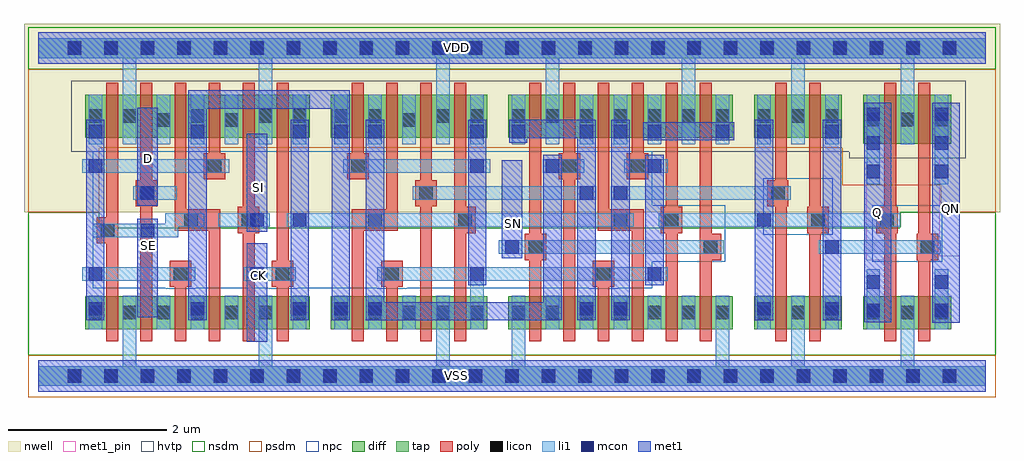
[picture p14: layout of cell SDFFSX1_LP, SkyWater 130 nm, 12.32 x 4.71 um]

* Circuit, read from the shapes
.subckt SDFFSX1_LP CK D Q QN SE SI SN VDD VSS
XM1 VSS SE n1 VSS sky130_fd_pr__nfet_01v8 w=0.42 l=0.15
XM2 n2 D VSS VSS sky130_fd_pr__nfet_01v8 w=0.42 l=0.15
XM3 n3 n1 n2 VSS sky130_fd_pr__nfet_01v8 w=0.42 l=0.15
XM4 n4 SE n3 VSS sky130_fd_pr__nfet_01v8 w=0.42 l=0.15
XM5 VSS SI n4 VSS sky130_fd_pr__nfet_01v8 w=0.42 l=0.15
XM6 n5 CK VSS VSS sky130_fd_pr__nfet_01v8 w=0.42 l=0.15
XM7 n6 n5 n3 VSS sky130_fd_pr__nfet_01v8 w=0.42 l=0.15
XM8 n7 n8 n6 VSS sky130_fd_pr__nfet_01v8 w=0.42 l=0.15
XM9 VSS n9 n7 VSS sky130_fd_pr__nfet_01v8 w=0.42 l=0.15
XM10 n8 n5 VSS VSS sky130_fd_pr__nfet_01v8 w=0.42 l=0.15
XM11 n10 SN VSS VSS sky130_fd_pr__nfet_01v8 w=0.42 l=0.15
XM12 n9 n6 n10 VSS sky130_fd_pr__nfet_01v8 w=0.42 l=0.15
XM13 n11 n8 n9 VSS sky130_fd_pr__nfet_01v8 w=0.42 l=0.15
XM14 n12 n5 n11 VSS sky130_fd_pr__nfet_01v8 w=0.42 l=0.15
XM15 n13 n14 n12 VSS sky130_fd_pr__nfet_01v8 w=0.42 l=0.15
XM16 VSS SN n13 VSS sky130_fd_pr__nfet_01v8 w=0.42 l=0.15
XM17 VSS n11 n14 VSS sky130_fd_pr__nfet_01v8 w=0.42 l=0.15
XM18 n15 n14 VSS VSS sky130_fd_pr__nfet_01v8 w=0.42 l=0.15
XM19 VSS n14 Q VSS sky130_fd_pr__nfet_01v8 w=0.42 l=0.15
XM20 QN n15 VSS VSS sky130_fd_pr__nfet_01v8 w=0.42 l=0.15
XM21 VDD SE n1 VDD sky130_fd_pr__pfet_01v8_hvt w=0.54 l=0.15
XM22 n16 D VDD VDD sky130_fd_pr__pfet_01v8_hvt w=0.54 l=0.15
XM23 n3 SE n16 VDD sky130_fd_pr__pfet_01v8_hvt w=0.54 l=0.15
XM24 n17 n1 n3 VDD sky130_fd_pr__pfet_01v8_hvt w=0.54 l=0.15
XM25 VDD SI n17 VDD sky130_fd_pr__pfet_01v8_hvt w=0.54 l=0.15
XM26 n5 CK VDD VDD sky130_fd_pr__pfet_01v8_hvt w=0.54 l=0.15
XM27 n6 n8 n3 VDD sky130_fd_pr__pfet_01v8_hvt w=0.54 l=0.15
XM28 n18 n5 n6 VDD sky130_fd_pr__pfet_01v8_hvt w=0.54 l=0.15
XM29 VDD n9 n18 VDD sky130_fd_pr__pfet_01v8_hvt w=0.54 l=0.15
XM30 n8 n5 VDD VDD sky130_fd_pr__pfet_01v8_hvt w=0.54 l=0.15
XM31 VDD SN n9 VDD sky130_fd_pr__pfet_01v8_hvt w=0.54 l=0.15
XM32 n9 n6 VDD VDD sky130_fd_pr__pfet_01v8_hvt w=0.54 l=0.15
XM33 n11 n5 n9 VDD sky130_fd_pr__pfet_01v8_hvt w=0.54 l=0.15
XM34 n19 n8 n11 VDD sky130_fd_pr__pfet_01v8_hvt w=0.54 l=0.15
XM35 VDD n14 n19 VDD sky130_fd_pr__pfet_01v8_hvt w=0.54 l=0.15
XM36 n19 SN VDD VDD sky130_fd_pr__pfet_01v8_hvt w=0.54 l=0.15
XM37 VDD n11 n14 VDD sky130_fd_pr__pfet_01v8_hvt w=0.54 l=0.15
XM38 n15 n14 VDD VDD sky130_fd_pr__pfet_01v8_hvt w=0.54 l=0.15
XM39 VDD n14 Q VDD sky130_fd_pr__pfet_01v8_hvt w=0.62 l=0.15
XM40 QN n15 VDD VDD sky130_fd_pr__pfet_01v8_hvt w=0.62 l=0.15
.ends

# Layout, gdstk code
from math import pi, radians
import gdstk
lib = gdstk.Library(unit=1e-6, precision=1e-09)
def R(c, l, rs):  # rectangles x0, y0, x1, y1
    for r in rs: c.add(gdstk.rectangle(r[:2], r[2:], *l))
def A(c, l, x, y, w, h, nx, ny, dx, dy):  # array of equal rectangles
    R(c, l, [(x+i*dx, y+j*dy, x+i*dx+w, y+j*dy+h) for i in range(nx) for j in range(ny)])
def P(c, l, *ps):  # polygons
    for p in ps: c.add(gdstk.Polygon(p, *l))
nwell = (64, 20)
diff = (65, 20)
tap = (65, 44)
poly = (66, 20)
licon = (66, 44)
li1 = (67, 20)
mcon = (67, 44)
met1_pin = (68, 16)
met1 = (68, 20)
hvtp = (78, 44)
nsdm = (93, 44)
psdm = (94, 20)
npc = (95, 20)

pyl1con_c_cdns_758729379 = lib.new_cell('PYL1CON_C_CDNS_758729379653')
R(pyl1con_c_cdns_758729379, poly, [(-0.135,-0.165,0.135,0.165)])
R(pyl1con_c_cdns_758729379, licon, [(-0.085,-0.085,0.085,0.085)])
R(pyl1con_c_cdns_758729379, npc, [(-0.185,-0.185,0.185,0.185)])

l1m1_c_cdns_758729379659 = lib.new_cell('L1M1_C_CDNS_758729379659')
R(l1m1_c_cdns_758729379659, li1, [(-0.085,-0.345,0.085,0.345)])
R(l1m1_c_cdns_758729379659, mcon, [(-0.085,-0.265,0.085,-0.095), (-0.085,0.095,0.085,0.265)])
R(l1m1_c_cdns_758729379659, met1, [(-0.115,-0.325,0.115,0.325)])

l1m1_c_cdns_758729379655 = lib.new_cell('L1M1_C_CDNS_758729379655')
R(l1m1_c_cdns_758729379655, li1, [(-0.085,-0.165,0.085,0.165)])
R(l1m1_c_cdns_758729379655, mcon, [(-0.085,-0.085,0.085,0.085)])
R(l1m1_c_cdns_758729379655, met1, [(-0.115,-0.145,0.115,0.145)])

l1m1_c_cdns_758729379654 = lib.new_cell('L1M1_C_CDNS_758729379654')
R(l1m1_c_cdns_758729379654, li1, [(-0.165,-0.085,0.165,0.085)])
R(l1m1_c_cdns_758729379654, mcon, [(-0.085,-0.085,0.085,0.085)])
R(l1m1_c_cdns_758729379654, met1, [(-0.115,-0.145,0.115,0.145)])

l1m1_c_cdns_758729379652 = lib.new_cell('L1M1_C_CDNS_7587293796521')
R(l1m1_c_cdns_758729379652, li1, [(-0.085,-0.165,0.085,0.165)])
R(l1m1_c_cdns_758729379652, mcon, [(-0.085,-0.085,0.085,0.085)])
R(l1m1_c_cdns_758729379652, met1, [(-0.145,-0.085,0.145,0.085)])

licondiff_c_cdns_7587293 = lib.new_cell('LICONDIFF_C_CDNS_758729379657')
R(licondiff_c_cdns_7587293, diff, [(-0.125,-0.145,0.125,0.145)])
R(licondiff_c_cdns_7587293, licon, [(-0.085,-0.085,0.085,0.085), (-0.085,-0.085,0.085,0.085)])

l1m1_c_cdns_758729379651 = lib.new_cell('L1M1_C_CDNS_7587293796510')
R(l1m1_c_cdns_758729379651, li1, [(-0.085,-0.525,0.085,0.525)])
A(l1m1_c_cdns_758729379651, mcon, -0.085, -0.445, 0.17, 0.17, 1, 3, 0, 0.36)
R(l1m1_c_cdns_758729379651, met1, [(-0.115,-0.505,0.115,0.505)])

c_pyl1con_c_cdns_758729379 = lib.new_cell('PYL1CON_C_CDNS_7587293796516')
R(c_pyl1con_c_cdns_758729379, poly, [(-0.135,-0.29,0.135,0.29)])
R(c_pyl1con_c_cdns_758729379, licon, [(-0.085,-0.085,0.085,0.085)])
R(c_pyl1con_c_cdns_758729379, npc, [(-0.185,-0.185,0.185,0.185)])

c_l1m1_c_cdns_758729379651 = lib.new_cell('L1M1_C_CDNS_7587293796519')
R(c_l1m1_c_cdns_758729379651, li1, [(-0.125,-0.085,0.125,0.085)])
R(c_l1m1_c_cdns_758729379651, mcon, [(-0.085,-0.085,0.085,0.085)])
R(c_l1m1_c_cdns_758729379651, met1, [(-0.115,-0.145,0.115,0.145)])

c_pyl1con_c_cdns_758729379_ = lib.new_cell('PYL1CON_C_CDNS_7587293796520')
R(c_pyl1con_c_cdns_758729379_, poly, [(-0.135,-0.37,0.135,0.21)])
R(c_pyl1con_c_cdns_758729379_, licon, [(-0.085,-0.085,0.085,0.085)])
R(c_pyl1con_c_cdns_758729379_, npc, [(-0.185,-0.185,0.185,0.185)])

sdffsx1_lp = lib.new_cell('SDFFSX1_LP')
R(sdffsx1_lp, nwell, [(-0.18,2.07,12.14,4.445)])
R(sdffsx1_lp, diff, [(0.595,0.59,3.425,1.01), (3.695,0.59,5.665,1.01), (5.935,0.59,8.765,1.01), (9.035,0.59,10.145,1.01), (10.415,0.59,11.525,1.01), (10.415,2.93,11.525,3.55), (0.595,3.01,3.425,3.55), (3.695,3.01,5.665,3.55), (5.935,3.01,8.765,3.55), (9.035,3.01,10.145,3.55)])
A(sdffsx1_lp, poly, 1.72, 0.44, 0.15, 0.72, 3, 1, 2.67, 0)
R(sdffsx1_lp, poly, [(0.86,0.44,1.01,3.7), (1.29,0.44,1.44,3.7), (2.58,0.44,2.73,3.7), (3.01,0.44,3.16,3.7), (4.82,0.44,4.97,3.7), (5.25,0.44,5.4,3.7), (6.2,0.44,6.35,3.7), (6.63,0.44,6.78,3.7), (7.92,0.44,8.07,3.7), (8.35,0.44,8.5,3.7), (9.3,0.44,9.45,3.7), (9.73,0.44,9.88,3.7), (10.68,0.44,10.83,3.7), (11.11,0.44,11.26,3.7), (2.15,2.65,2.3,3.7), (3.96,2.65,4.11,3.7), (7.49,2.65,7.64,3.7)])
P(sdffsx1_lp, poly, [(2.3,2.045),(1.87,2.045),(1.87,3.7),(1.72,3.7),(1.72,1.895),(2.15,1.895),(2.15,0.44),(2.3,0.44)],
  [(4.54,3.7),(4.39,3.7),(4.39,2.045),(3.96,2.045),(3.96,0.44),(4.11,0.44),(4.11,1.895),(4.54,1.895)],
  [(7.64,2.045),(7.21,2.045),(7.21,3.7),(7.06,3.7),(7.06,1.895),(7.49,1.895),(7.49,0.44),(7.64,0.44)])
A(sdffsx1_lp, licon, 0.375, -0.085, 0.17, 0.17, 25, 2, 0.46, 4.14)
A(sdffsx1_lp, licon, 1.065, 0.715, 0.17, 0.17, 3, 2, 0.86, 2.48)
A(sdffsx1_lp, licon, 9.075, 0.715, 0.17, 0.17, 3, 2, 0.43, 2.48)
A(sdffsx1_lp, licon, 10.455, 0.715, 0.17, 0.17, 3, 2, 0.43, 2.44)
A(sdffsx1_lp, licon, 5.975, 3.195, 0.17, 0.17, 7, 1, 0.43, 0)
R(sdffsx1_lp, licon, [(0.635,0.715,0.805,0.885), (3.215,0.715,3.385,0.885), (3.735,0.715,3.905,0.885), (4.165,0.715,4.335,0.885), (5.025,0.715,5.195,0.885), (5.455,0.715,5.625,0.885), (5.975,0.715,6.145,0.885), (6.835,0.715,7.005,0.885), (7.265,0.715,7.435,0.885), (8.555,0.715,8.725,0.885), (0.635,3.195,0.805,3.365), (3.215,3.195,3.385,3.365), (3.735,3.195,3.905,3.365), (4.165,3.195,4.335,3.365), (5.025,3.195,5.195,3.365), (5.455,3.195,5.625,3.365)])
A(sdffsx1_lp, li1, 0.635, 0.59, 0.17, 0.42, 3, 1, 1.29, 0)
A(sdffsx1_lp, li1, 0.635, 3.01, 0.17, 0.54, 3, 1, 1.29, 0)
A(sdffsx1_lp, li1, 6.835, 3.01, 0.17, 0.54, 3, 1, 0.43, 0)
R(sdffsx1_lp, li1, [(3.735,0.59,3.905,1.01), (4.165,0.59,4.335,1.01), (6.835,0.59,7.005,1.01), (7.265,0.59,7.435,1.01), (9.075,0.59,9.245,1.01), (9.935,0.59,10.105,1.01), (10.455,0.59,10.625,1.01), (11.315,0.59,11.485,1.01), (10.455,2.93,10.625,3.55), (11.315,2.93,11.485,3.55), (3.735,3.01,3.905,3.55), (4.165,3.01,4.335,3.55), (5.455,3.01,5.625,3.55), (5.975,3.01,6.145,3.55), (8.555,3.01,8.725,3.55), (9.075,3.01,9.245,3.55), (9.935,3.01,10.105,3.55)])
P(sdffsx1_lp, li1, [(2.095,2.055),(1.6,2.055),(1.6,1.925),(0.69,1.925),(0.69,1.755),(1.77,1.755),(1.77,1.885),(2.095,1.885)],
  [(7.945,1.375),(4.28,1.375),(4.28,1.205),(5.455,1.205),(5.455,0.59),(5.625,0.59),(5.625,1.205),(7.945,1.205)],
  [(11.96,4.265),(0,4.265),(0,4.015),(1.065,4.015),(1.065,2.925),(1.235,2.925),(1.235,4.015),(2.785,4.015),(2.785,2.925),(2.955,2.925),(2.955,4.015),(5.025,4.015),(5.025,2.925),(5.195,2.925),(5.195,4.015),(6.405,4.015),(6.405,2.925),(6.575,2.925),(6.575,4.015),(8.125,4.015),(8.125,2.925),(8.295,2.925),(8.295,4.015),(9.505,4.015),(9.505,2.925),(9.675,2.925),(9.675,4.015),(10.885,4.015),(10.885,2.925),(11.055,2.925),(11.055,4.015),(11.96,4.015)],
  [(11.96,0.125),(11.055,0.125),(11.055,1.015),(10.885,1.015),(10.885,0.125),(9.675,0.125),(9.675,1.015),(9.505,1.015),(9.505,0.125),(8.725,0.125),(8.725,1.015),(8.555,1.015),(8.555,0.125),(6.145,0.125),(6.145,1.015),(5.975,1.015),(5.975,0.125),(5.195,0.125),(5.195,1.015),(5.025,1.015),(5.025,0.125),(2.955,0.125),(2.955,1.015),(2.785,1.015),(2.785,0.125),(1.235,0.125),(1.235,1.015),(1.065,1.015),(1.065,0.125),(0,0.125),(0,-0.125),(11.96,-0.125)])
A(sdffsx1_lp, mcon, 0.375, -0.085, 0.17, 0.17, 25, 2, 0.46, 4.14)
R(sdffsx1_lp, met1_pin, [(2.63,0.435,2.89,1.675), (1.25,0.745,1.51,1.985), (10.45,1.465,10.71,2.705), (5.85,1.485,6.11,2.725), (11.37,1.515,11.63,2.755), (2.63,1.82,2.89,3.06), (1.25,2.15,1.51,3.39)])
R(sdffsx1_lp, met1, [(11.285,0.675,11.63,3.45), (10.425,0.68,10.77,3.45)])
P(sdffsx1_lp, hvtp, [(11.705,3.73),(0.415,3.73),(0.415,2.83),(10.235,2.83),(10.235,2.75),(11.705,2.75)])
R(sdffsx1_lp, nsdm, [(-0.125,3.875,12.085,4.405)])
P(sdffsx1_lp, nsdm, [(12.085,2.07),(10.88,2.07),(10.88,1.875),(0.77,1.875),(0.77,2.07),(-0.125,2.07),(-0.125,0.265),(12.085,0.265)])
R(sdffsx1_lp, psdm, [(-0.125,-0.265,12.085,0.265)])
P(sdffsx1_lp, psdm, [(12.085,3.875),(-0.125,3.875),(-0.125,2.07),(0.77,2.07),(0.77,2.88),(10.15,2.88),(10.15,2.41),(11.39,2.41),(11.39,2.07),(12.085,2.07)])
R(sdffsx1_lp, npc, [(10.53,1.445,11.41,2.155), (9.15,1.785,10.03,2.495)])
P(sdffsx1_lp, npc, [(8.67,2.155),(7.75,2.155),(7.75,2.835),(0.69,2.835),(0.69,1.11),(7.75,1.11),(7.75,1.445),(8.67,1.445)])
sdffsx1_lp.add(gdstk.FlexPath([(6.365,2.65),(6.89,2.65)], 0.17, ends="flush", simple_path=True, layer=67, datatype=20))  # li1
sdffsx1_lp.add(gdstk.FlexPath([(3.85,2.65),(5.705,2.65)], 0.17, ends="flush", simple_path=True, layer=67, datatype=20))  # li1
sdffsx1_lp.add(gdstk.FlexPath([(7.4,2.65),(7.945,2.65)], 0.17, ends="flush", simple_path=True, layer=67, datatype=20))  # li1
sdffsx1_lp.add(gdstk.FlexPath([(0.555,1.29),(1.98,1.29)], 0.17, ends="flush", simple_path=True, layer=67, datatype=20))  # li1
sdffsx1_lp.add(gdstk.FlexPath([(4.68,2.925),(4.68,3.55)], 0.17, ends="flush", simple_path=True, layer=67, datatype=20))  # li1
sdffsx1_lp.add(gdstk.FlexPath([(4.68,0.59),(4.68,1.015)], 0.17, ends="flush", simple_path=True, layer=67, datatype=20))  # li1
sdffsx1_lp.add(gdstk.FlexPath([(8.21,0.59),(8.21,1.015)], 0.17, ends="flush", simple_path=True, layer=67, datatype=20))  # li1
sdffsx1_lp.add(gdstk.FlexPath([(7.78,0.59),(7.78,1.015)], 0.17, ends="flush", simple_path=True, layer=67, datatype=20))  # li1
sdffsx1_lp.add(gdstk.FlexPath([(2.82,1.97),(2.275,1.97)], 0.17, ends="flush", simple_path=True, layer=67, datatype=20))  # li1
sdffsx1_lp.add(gdstk.FlexPath([(3.25,1.29),(2.705,1.29)], 0.17, ends="flush", simple_path=True, layer=67, datatype=20))  # li1
sdffsx1_lp.add(gdstk.FlexPath([(3.135,1.97),(7.515,1.97)], 0.17, ends="flush", simple_path=True, layer=67, datatype=20))  # li1
sdffsx1_lp.add(gdstk.FlexPath([(7.83,1.97),(10.88,1.97)], 0.17, ends="flush", simple_path=True, layer=67, datatype=20))  # li1
sdffsx1_lp.add(gdstk.FlexPath([(6.49,0.59),(6.49,1.015)], 0.17, ends="flush", simple_path=True, layer=67, datatype=20))  # li1
sdffsx1_lp.add(gdstk.FlexPath([(9.855,1.63),(11.39,1.63)], 0.17, ends="flush", simple_path=True, layer=67, datatype=20))  # li1
sdffsx1_lp.add(gdstk.FlexPath([(7.225,2.31),(9.5,2.31)], 0.17, ends="flush", simple_path=True, layer=67, datatype=20))  # li1
sdffsx1_lp.add(gdstk.FlexPath([(0.555,2.65),(2.41,2.65)], 0.17, ends="flush", simple_path=True, layer=67, datatype=20))  # li1
sdffsx1_lp.add(gdstk.FlexPath([(1.58,2.925),(1.58,3.55)], 0.17, ends="flush", simple_path=True, layer=67, datatype=20))  # li1
sdffsx1_lp.add(gdstk.FlexPath([(2.44,2.925),(2.44,3.55)], 0.17, ends="flush", simple_path=True, layer=67, datatype=20))  # li1
sdffsx1_lp.add(gdstk.FlexPath([(5.895,1.63),(8.65,1.63)], 0.17, ends="flush", simple_path=True, layer=67, datatype=20))  # li1
sdffsx1_lp.add(gdstk.FlexPath([(1.58,0.59),(1.58,1.015)], 0.17, ends="flush", simple_path=True, layer=67, datatype=20))  # li1
sdffsx1_lp.add(gdstk.FlexPath([(2.44,0.59),(2.44,1.015)], 0.17, ends="flush", simple_path=True, layer=67, datatype=20))  # li1
sdffsx1_lp.add(gdstk.FlexPath([(1.745,2.31),(1.2,2.31)], 0.17, ends="flush", simple_path=True, layer=67, datatype=20))  # li1
sdffsx1_lp.add(gdstk.FlexPath([(7.045,2.31),(4.73,2.31)], 0.17, ends="flush", simple_path=True, layer=67, datatype=20))  # li1
sdffsx1_lp.add(gdstk.FlexPath([(0,4.14),(11.96,4.14)], 0.4, ends="flush", simple_path=True, layer=68, datatype=20))  # met1
sdffsx1_lp.add(gdstk.FlexPath([(0,0),(11.96,0)], 0.4, ends="flush", simple_path=True, layer=68, datatype=20))  # met1
sdffsx1_lp.add(gdstk.FlexPath([(7.78,1.145),(7.78,2.795)], 0.23, ends="flush", simple_path=True, layer=68, datatype=20))  # met1
sdffsx1_lp.add(gdstk.FlexPath([(2.01,0.705),(2.01,3.49),(3.82,3.49),(3.82,0.705)], 0.23, ends="flush", simple_path=True, layer=68, datatype=20))  # met1
sdffsx1_lp.add(gdstk.FlexPath([(6.49,2.795),(6.49,0.82),(4.25,0.82),(4.25,3.235)], 0.23, ends="flush", simple_path=True, layer=68, datatype=20))  # met1
sdffsx1_lp.add(gdstk.FlexPath([(0.72,0.705),(0.72,3.235)], 0.23, ends="flush", simple_path=True, layer=68, datatype=20))  # met1
sdffsx1_lp.add(gdstk.FlexPath([(5.54,1.145),(5.54,3.235)], 0.23, ends="flush", simple_path=True, layer=68, datatype=20))  # met1
sdffsx1_lp.add(gdstk.FlexPath([(3.3,0.705),(3.3,3.235)], 0.23, ends="flush", simple_path=True, layer=68, datatype=20))  # met1
sdffsx1_lp.add(gdstk.FlexPath([(5.98,1.485),(5.98,2.725)], 0.26, ends="flush", simple_path=True, layer=68, datatype=20))  # met1
sdffsx1_lp.add(gdstk.FlexPath([(5.945,3.12),(6.92,3.12),(6.92,0.705)], 0.23, ends="flush", simple_path=True, layer=68, datatype=20))  # met1
sdffsx1_lp.add(gdstk.FlexPath([(2.76,0.435),(2.76,1.675)], 0.26, ends="flush", simple_path=True, layer=68, datatype=20))  # met1
sdffsx1_lp.add(gdstk.FlexPath([(2.76,1.82),(2.76,3.06)], 0.26, ends="flush", simple_path=True, layer=68, datatype=20))  # met1
sdffsx1_lp.add(gdstk.FlexPath([(1.38,2.15),(1.38,3.39)], 0.26, ends="flush", simple_path=True, layer=68, datatype=20))  # met1
sdffsx1_lp.add(gdstk.FlexPath([(9.16,0.705),(9.16,3.235)], 0.23, ends="flush", simple_path=True, layer=68, datatype=20))  # met1
sdffsx1_lp.add(gdstk.FlexPath([(10.02,0.705),(10.02,3.235)], 0.23, ends="flush", simple_path=True, layer=68, datatype=20))  # met1
sdffsx1_lp.add(gdstk.FlexPath([(7.635,3.09),(8.785,3.09)], 0.23, ends="flush", simple_path=True, layer=68, datatype=20))  # met1
sdffsx1_lp.add(gdstk.FlexPath([(1.38,0.745),(1.38,1.985)], 0.26, ends="flush", simple_path=True, layer=68, datatype=20))  # met1
sdffsx1_lp.add(gdstk.FlexPath([(7.35,0.705),(7.35,3.235)], 0.23, ends="flush", simple_path=True, layer=68, datatype=20))  # met1
sdffsx1_lp.add(gdstk.FlexPath([(0,4.14),(11.96,4.14)], 0.4, ends="flush", simple_path=True, layer=68, datatype=16))  # met1_pin
sdffsx1_lp.add(gdstk.FlexPath([(0,0),(11.96,0)], 0.4, ends="flush", simple_path=True, layer=68, datatype=16))  # met1_pin
sdffsx1_lp.add(gdstk.FlexPath([(0,4.14),(11.96,4.14)], 0.25, ends="flush", simple_path=True, layer=65, datatype=44))  # tap
sdffsx1_lp.add(gdstk.FlexPath([(0,0),(11.96,0)], 0.25, ends="flush", simple_path=True, layer=65, datatype=44))  # tap
sdffsx1_lp.add(gdstk.Reference(pyl1con_c_cdns_758729379, (6.705,2.65), rotation=pi))
sdffsx1_lp.add(gdstk.Reference(pyl1con_c_cdns_758729379, (4.895,2.31)))
sdffsx1_lp.add(gdstk.Reference(pyl1con_c_cdns_758729379, (6.275,1.63)))
sdffsx1_lp.add(gdstk.Reference(pyl1con_c_cdns_758729379, (5.385,1.97), rotation=pi))
sdffsx1_lp.add(gdstk.Reference(pyl1con_c_cdns_758729379, (3.085,1.29), x_reflection=True))
sdffsx1_lp.add(gdstk.Reference(pyl1con_c_cdns_758729379, (2.655,1.97), x_reflection=True))
sdffsx1_lp.add(gdstk.Reference(pyl1con_c_cdns_758729379, (2.225,2.65), rotation=pi))
sdffsx1_lp.add(gdstk.Reference(pyl1con_c_cdns_758729379, (1.795,1.29), x_reflection=True))
sdffsx1_lp.add(gdstk.Reference(pyl1con_c_cdns_758729379, (4.465,1.29), rotation=pi))
sdffsx1_lp.add(gdstk.Reference(pyl1con_c_cdns_758729379, (4.035,2.65), x_reflection=True))
sdffsx1_lp.add(gdstk.Reference(pyl1con_c_cdns_758729379, (7.565,2.65), rotation=pi))
sdffsx1_lp.add(gdstk.Reference(pyl1con_c_cdns_758729379, (7.135,1.29), x_reflection=True))
sdffsx1_lp.add(gdstk.Reference(pyl1con_c_cdns_758729379, (8.485,1.63)))
sdffsx1_lp.add(gdstk.Reference(pyl1con_c_cdns_758729379, (7.995,1.97)))
sdffsx1_lp.add(gdstk.Reference(pyl1con_c_cdns_758729379, (11.225,1.63), rotation=pi, x_reflection=True))
sdffsx1_lp.add(gdstk.Reference(pyl1con_c_cdns_758729379, (0.875,1.84)))
sdffsx1_lp.add(gdstk.Reference(pyl1con_c_cdns_758729379, (1.365,2.31)))
sdffsx1_lp.add(gdstk.Reference(pyl1con_c_cdns_758729379, (9.845,1.97), x_reflection=True))
sdffsx1_lp.add(gdstk.Reference(pyl1con_c_cdns_758729379, (9.335,2.31), rotation=pi, x_reflection=True))
sdffsx1_lp.add(gdstk.Reference(pyl1con_c_cdns_758729379, (10.715,1.97), rotation=pi, x_reflection=True))
sdffsx1_lp.add(gdstk.Reference(l1m1_c_cdns_758729379659, (10.54,1.005)))
sdffsx1_lp.add(gdstk.Reference(l1m1_c_cdns_758729379659, (11.4,1.005)))
sdffsx1_lp.add(gdstk.Reference(l1m1_c_cdns_758729379659, (10.54,1.005)))
sdffsx1_lp.add(gdstk.Reference(l1m1_c_cdns_758729379659, (11.4,1.005)))
sdffsx1_lp.add(gdstk.Reference(l1m1_c_cdns_758729379655, (3.82,3.09)))
sdffsx1_lp.add(gdstk.Reference(l1m1_c_cdns_758729379655, (3.82,0.85)))
sdffsx1_lp.add(gdstk.Reference(l1m1_c_cdns_758729379655, (2.01,3.09)))
sdffsx1_lp.add(gdstk.Reference(l1m1_c_cdns_758729379655, (2.01,0.85)))
sdffsx1_lp.add(gdstk.Reference(l1m1_c_cdns_758729379655, (0.72,3.09)))
sdffsx1_lp.add(gdstk.Reference(l1m1_c_cdns_758729379655, (0.72,0.85)))
sdffsx1_lp.add(gdstk.Reference(l1m1_c_cdns_758729379655, (6.06,3.09)))
sdffsx1_lp.add(gdstk.Reference(l1m1_c_cdns_758729379655, (5.54,3.09), rotation=pi, x_reflection=True))
sdffsx1_lp.add(gdstk.Reference(l1m1_c_cdns_758729379655, (3.3,0.85)))
sdffsx1_lp.add(gdstk.Reference(l1m1_c_cdns_758729379655, (3.3,3.09)))
sdffsx1_lp.add(gdstk.Reference(l1m1_c_cdns_758729379655, (4.25,3.09)))
sdffsx1_lp.add(gdstk.Reference(l1m1_c_cdns_758729379655, (4.25,0.85)))
sdffsx1_lp.add(gdstk.Reference(l1m1_c_cdns_758729379655, (6.92,0.85)))
sdffsx1_lp.add(gdstk.Reference(l1m1_c_cdns_758729379655, (6.92,3.09)))
sdffsx1_lp.add(gdstk.Reference(l1m1_c_cdns_758729379655, (7.35,3.09)))
sdffsx1_lp.add(gdstk.Reference(l1m1_c_cdns_758729379655, (7.35,0.85)))
sdffsx1_lp.add(gdstk.Reference(l1m1_c_cdns_758729379655, (9.16,3.09), rotation=pi, x_reflection=True))
sdffsx1_lp.add(gdstk.Reference(l1m1_c_cdns_758729379655, (10.02,3.09), rotation=pi, x_reflection=True))
sdffsx1_lp.add(gdstk.Reference(l1m1_c_cdns_758729379655, (10.02,0.85), rotation=pi, x_reflection=True))
sdffsx1_lp.add(gdstk.Reference(l1m1_c_cdns_758729379655, (9.16,0.85), rotation=pi, x_reflection=True))
sdffsx1_lp.add(gdstk.Reference(l1m1_c_cdns_758729379654, (7.78,2.65)))
sdffsx1_lp.add(gdstk.Reference(l1m1_c_cdns_758729379654, (7.78,1.29)))
sdffsx1_lp.add(gdstk.Reference(l1m1_c_cdns_758729379654, (2.76,1.29), x_reflection=True))
sdffsx1_lp.add(gdstk.Reference(l1m1_c_cdns_758729379654, (2.76,1.97), x_reflection=True))
sdffsx1_lp.add(gdstk.Reference(l1m1_c_cdns_758729379654, (3.3,1.97)))
sdffsx1_lp.add(gdstk.Reference(l1m1_c_cdns_758729379654, (5.54,2.65), rotation=pi, x_reflection=True))
sdffsx1_lp.add(gdstk.Reference(l1m1_c_cdns_758729379654, (5.54,1.29), rotation=pi, x_reflection=True))
sdffsx1_lp.add(gdstk.Reference(l1m1_c_cdns_758729379654, (9.16,1.97), rotation=pi, x_reflection=True))
sdffsx1_lp.add(gdstk.Reference(l1m1_c_cdns_758729379654, (10.02,1.63)))
sdffsx1_lp.add(gdstk.Reference(l1m1_c_cdns_758729379654, (5.98,1.63), x_reflection=True))
sdffsx1_lp.add(gdstk.Reference(l1m1_c_cdns_758729379654, (1.38,1.84), x_reflection=True))
sdffsx1_lp.add(gdstk.Reference(l1m1_c_cdns_758729379654, (1.38,2.31), x_reflection=True))
sdffsx1_lp.add(gdstk.Reference(l1m1_c_cdns_758729379654, (0.72,1.29)))
sdffsx1_lp.add(gdstk.Reference(l1m1_c_cdns_758729379654, (0.72,2.65)))
sdffsx1_lp.add(gdstk.Reference(l1m1_c_cdns_758729379652, (7.78,3.09)))
sdffsx1_lp.add(gdstk.Reference(l1m1_c_cdns_758729379652, (8.64,3.09)))
sdffsx1_lp.add(gdstk.Reference(licondiff_c_cdns_7587293, (4.68,3.235)))
sdffsx1_lp.add(gdstk.Reference(licondiff_c_cdns_7587293, (4.68,0.8)))
sdffsx1_lp.add(gdstk.Reference(licondiff_c_cdns_7587293, (8.21,0.8)))
sdffsx1_lp.add(gdstk.Reference(licondiff_c_cdns_7587293, (7.78,0.8)))
sdffsx1_lp.add(gdstk.Reference(licondiff_c_cdns_7587293, (6.49,0.8), rotation=pi, x_reflection=True))
sdffsx1_lp.add(gdstk.Reference(licondiff_c_cdns_7587293, (2.44,0.8)))
sdffsx1_lp.add(gdstk.Reference(licondiff_c_cdns_7587293, (1.58,0.8)))
sdffsx1_lp.add(gdstk.Reference(licondiff_c_cdns_7587293, (2.44,3.235)))
sdffsx1_lp.add(gdstk.Reference(licondiff_c_cdns_7587293, (1.58,3.235)))
sdffsx1_lp.add(gdstk.Reference(l1m1_c_cdns_758729379651, (10.54,2.945)))
sdffsx1_lp.add(gdstk.Reference(l1m1_c_cdns_758729379651, (10.54,2.945)))
sdffsx1_lp.add(gdstk.Reference(l1m1_c_cdns_758729379651, (11.4,2.945)))
sdffsx1_lp.add(gdstk.Reference(l1m1_c_cdns_758729379651, (11.4,2.945)))
sdffsx1_lp.add(gdstk.Reference(c_pyl1con_c_cdns_758729379, (4.25,1.97), rotation=pi/2, x_reflection=True))
sdffsx1_lp.add(gdstk.Reference(c_pyl1con_c_cdns_758729379, (7.35,1.97), rotation=pi/2))
sdffsx1_lp.add(gdstk.Reference(c_l1m1_c_cdns_758729379651, (6.49,2.65)))
sdffsx1_lp.add(gdstk.Reference(c_l1m1_c_cdns_758729379651, (6.92,2.31), rotation=pi, x_reflection=True))
sdffsx1_lp.add(gdstk.Reference(c_l1m1_c_cdns_758729379651, (7.35,2.31), rotation=pi, x_reflection=True))
sdffsx1_lp.add(gdstk.Reference(c_pyl1con_c_cdns_758729379_, (1.93,1.97), rotation=pi/2))
sdffsx1_lp.add(gdstk.Label('SI', (2.775,2.375), layer=68, texttype=5))
sdffsx1_lp.add(gdstk.Label('D', (1.395,2.745), layer=68, texttype=5))
sdffsx1_lp.add(gdstk.Label('SN', (5.995,1.925), layer=68, texttype=5))
sdffsx1_lp.add(gdstk.Label('QN', (11.515,2.11), layer=68, texttype=5))
sdffsx1_lp.add(gdstk.Label('VDD', (5.285,4.145), layer=68, texttype=5))
sdffsx1_lp.add(gdstk.Label('Q', (10.595,2.06), layer=68, texttype=5))
sdffsx1_lp.add(gdstk.Label('VSS', (5.285,0.005), layer=68, texttype=5))
sdffsx1_lp.add(gdstk.Label('CK', (2.775,1.265), layer=68, texttype=5))
sdffsx1_lp.add(gdstk.Label('SE', (1.395,1.65), layer=68, texttype=5))

lib.write_gds('SDFFSX1_LP.gds')
